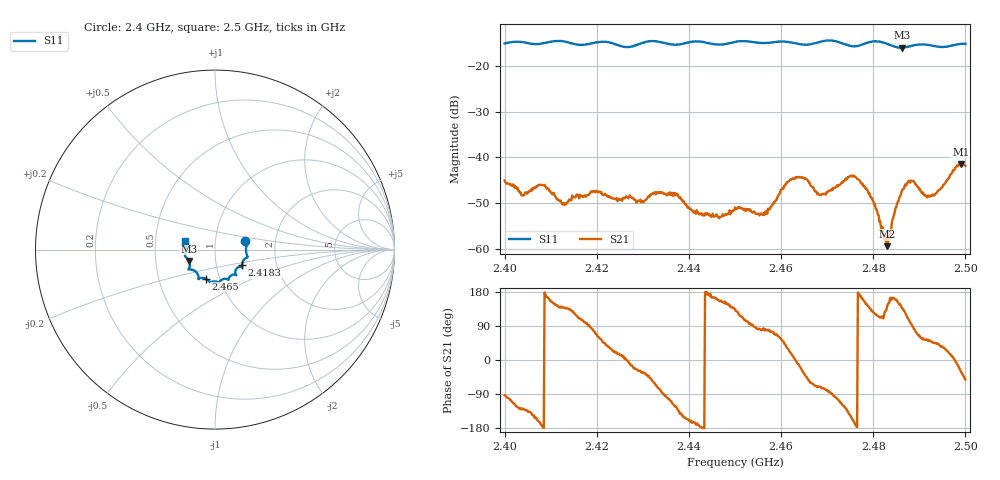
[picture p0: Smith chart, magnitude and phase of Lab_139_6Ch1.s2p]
# Hz S RI R 50
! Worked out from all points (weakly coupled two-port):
!   601 points, 2.4 GHz to 2.5 GHz, reference 50 ohm
!   highest |S21| = -41.45 dB at 2.499 GHz (marker M1); lowest = -59.4 dB at 2.483 GHz (marker M2)
!   lowest |S11| = -16.1 dB at 2.4862 GHz (marker M3), VSWR 1.37, Z = 37.1 - j4.8 ohm
!   |S11| at or under -10 dB: start of sweep to end of sweep
!   S12 and S22 are empty: the file has one direction only
!   S11 on the Smith chart (normalised r, x): 2.4 GHz: 1.40, +0.13; 2.4183 GHz: 1.33, -0.24; 2.465 GHz: 0.86, -0.29; 2.5 GHz: 0.71, +0.07
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2.4e9  0.1692 0.0458  -0.000292 -0.00558  0 0  0 0
2.403833e9  0.1792 0.0286  -0.00246 -0.00293  0 0  0 0
2.4085e9  0.1753 -0.0219  -0.00496 -4.06e-05  0 0  0 0
2.412833e9  0.1796 -0.0433  -0.00234 0.00212  0 0  0 0
2.416667e9  0.1546 -0.068  -0.00102 0.00363  0 0  0 0
2.418333e9  0.15 -0.0869  -0.000156 0.0039  0 0  0 0
2.433333e9  0.1175 -0.1409  0.00114 -0.004  0 0  0 0
2.442667e9  0.0735 -0.1678  -0.00237 -0.0001  0 0  0 0
2.45e9  0.0251 -0.1805  -0.00198 0.00203  0 0  0 0
2.4565e9  -0.00509 -0.1772  0.000367 0.0025  0 0  0 0
2.4615e9  -0.0309 -0.1792  0.00474 0.00267  0 0  0 0
2.465e9  -0.0526 -0.1617  0.00476 -0.00345  0 0  0 0
2.466667e9  -0.0715 -0.1571  0.0023 -0.0042  0 0  0 0
2.476333e9  -0.1138 -0.1176  -0.00594 -0.00064  0 0  0 0
2.479833e9  -0.1467 -0.111  -0.00217 0.00266  0 0  0 0
2.483e9  -0.1424 -0.0995  -0.000824 0.000683  0 0  0 0
2.483333e9  -0.1416 -0.0964  -0.0011 0.000647  0 0  0 0
2.486167e9  -0.1441 -0.063  -0.00325 0.00276  0 0  0 0
2.488167e9  -0.158 -0.0452  -0.000606 0.00553  0 0  0 0
2.492833e9  -0.1641 -0.0214  0.00263 0.00277  0 0  0 0
2.499e9  -0.1682 0.0422  0.00738 -0.00413  0 0  0 0
2.5e9  -0.1673 0.047  0.005 -0.00631  0 0  0 0
